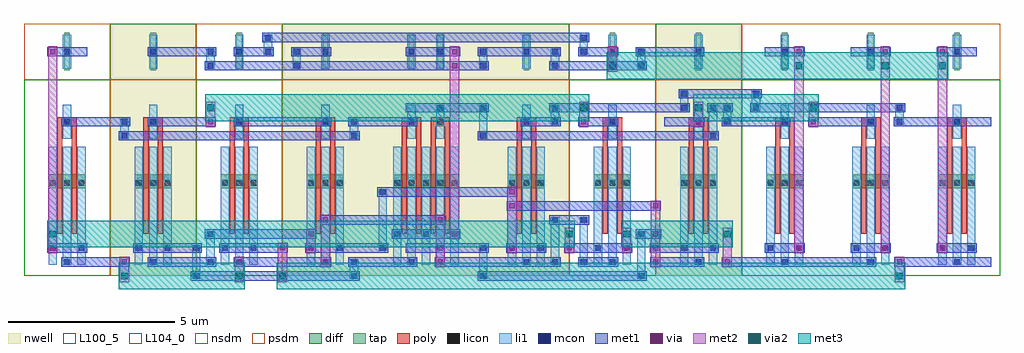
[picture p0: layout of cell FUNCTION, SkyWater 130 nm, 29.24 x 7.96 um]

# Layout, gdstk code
import gdstk
lib = gdstk.Library(unit=1e-6, precision=1e-09)
def R(c, l, rs):  # rectangles x0, y0, x1, y1
    for r in rs: c.add(gdstk.rectangle(r[:2], r[2:], *l))
def A(c, l, x, y, w, h, nx, ny, dx, dy):  # array of equal rectangles
    R(c, l, [(x+i*dx, y+j*dy, x+i*dx+w, y+j*dy+h) for i in range(nx) for j in range(ny)])
nwell = (64, 20)
diff = (65, 20)
tap = (65, 44)
poly = (66, 20)
licon = (66, 44)
li1 = (67, 20)
mcon = (67, 44)
met1 = (68, 20)
via = (68, 44)
met2 = (69, 20)
via2 = (69, 44)
met3 = (70, 20)
nsdm = (93, 44)
psdm = (94, 20)
L100_5 = (100, 5)
L104_0 = (104, 0)

function = lib.new_cell('FUNCTION')
R(function, nwell, [(2.58,0,5.16,7.56), (7.74,0,10.32,7.56), (10.32,0,13.76,7.56), (13.76,0,16.34,7.56), (18.92,0,21.5,7.56)])
A(function, diff, 0.735, 2.625, 1.11, 0.42, 4, 1, 2.58, 0)
A(function, diff, 14.495, 2.625, 1.11, 0.42, 6, 1, 2.58, 0)
R(function, diff, [(11.055,2.625,13.025,3.045)])
A(function, tap, 1.205, 6.16, 0.17, 1.12, 5, 1, 2.58, 0)
A(function, tap, 12.385, 6.16, 0.17, 1.12, 7, 1, 2.58, 0)
A(function, poly, 11.32, 1.26, 0.15, 3.36, 4, 1, 0.43, 0)
A(function, poly, 1, 4.485, 0.58, 0.27, 5, 1, 2.58, 0)
A(function, poly, 12.18, 4.485, 0.58, 0.27, 7, 1, 2.58, 0)
R(function, poly, [(1,1.26,1.15,4.62), (1.43,1.26,1.58,4.62), (3.58,1.26,3.73,4.62), (4.01,1.26,4.16,4.62), (6.16,1.26,6.31,4.62), (6.59,1.26,6.74,4.62), (8.74,1.26,8.89,4.62), (9.17,1.26,9.32,4.62), (14.76,1.26,14.91,4.62), (15.19,1.26,15.34,4.62), (17.34,1.26,17.49,4.62), (17.77,1.26,17.92,4.62), (19.92,1.26,20.07,4.62), (20.35,1.26,20.5,4.62), (22.5,1.26,22.65,4.62), (22.93,1.26,23.08,4.62), (25.08,1.26,25.23,4.62), (25.51,1.26,25.66,4.62), (27.66,1.26,27.81,4.62), (28.09,1.26,28.24,4.62)])
A(function, licon, 0.775, 2.705, 0.17, 0.17, 3, 1, 0.43, 0)
A(function, licon, 3.355, 2.705, 0.17, 0.17, 3, 1, 0.43, 0)
A(function, licon, 5.935, 2.705, 0.17, 0.17, 3, 1, 0.43, 0)
A(function, licon, 8.515, 2.705, 0.17, 0.17, 3, 1, 0.43, 0)
A(function, licon, 11.095, 2.705, 0.17, 0.17, 3, 1, 0.43, 0)
A(function, licon, 11.955, 2.705, 0.17, 0.17, 3, 1, 0.43, 0)
A(function, licon, 14.535, 2.705, 0.17, 0.17, 3, 1, 0.43, 0)
A(function, licon, 17.115, 2.705, 0.17, 0.17, 3, 1, 0.43, 0)
A(function, licon, 19.695, 2.705, 0.17, 0.17, 3, 1, 0.43, 0)
A(function, licon, 22.275, 2.705, 0.17, 0.17, 3, 1, 0.43, 0)
A(function, licon, 24.855, 2.705, 0.17, 0.17, 3, 1, 0.43, 0)
A(function, licon, 27.435, 2.705, 0.17, 0.17, 3, 1, 0.43, 0)
A(function, licon, 1.205, 4.535, 0.17, 0.17, 5, 2, 2.58, 2.1)
A(function, licon, 12.385, 4.535, 0.17, 0.17, 7, 2, 2.58, 2.1)
A(function, li1, 0.735, 0.335, 0.25, 3.53, 3, 1, 0.43, 0)
A(function, li1, 3.315, 0.335, 0.25, 3.53, 3, 1, 0.43, 0)
A(function, li1, 5.895, 0.335, 0.25, 3.53, 3, 1, 0.43, 0)
A(function, li1, 8.475, 0.335, 0.25, 3.53, 3, 1, 0.43, 0)
A(function, li1, 11.055, 0.335, 0.25, 3.53, 5, 1, 0.43, 0)
A(function, li1, 14.495, 0.335, 0.25, 3.53, 3, 1, 0.43, 0)
A(function, li1, 17.075, 0.335, 0.25, 3.53, 3, 1, 0.43, 0)
A(function, li1, 19.655, 0.335, 0.25, 3.53, 3, 1, 0.43, 0)
A(function, li1, 22.235, 0.335, 0.25, 3.53, 3, 1, 0.43, 0)
A(function, li1, 24.815, 0.335, 0.25, 3.53, 3, 1, 0.43, 0)
A(function, li1, 27.395, 0.335, 0.25, 3.53, 3, 1, 0.43, 0)
A(function, li1, 1.165, 4.115, 0.25, 1.01, 5, 2, 2.58, 2.1)
A(function, li1, 12.345, 4.115, 0.25, 1.01, 3, 1, 1.29, 0)
A(function, li1, 22.665, 4.115, 0.25, 1.01, 3, 1, 2.58, 0)
A(function, li1, 15.785, 4.535, 0.25, 0.59, 3, 1, 5.16, 0)
A(function, li1, 12.345, 6.215, 0.25, 1.01, 7, 1, 2.58, 0)
R(function, li1, [(5.035,-0.085,5.285,0.925), (9.765,-0.085,10.015,0.505), (13.635,-0.085,13.885,0.925), (18.365,-0.085,18.615,1.345), (5.465,0.335,5.715,1.345), (15.785,0.335,16.035,1.765), (16.645,0.335,16.895,1.765), (10.625,0.755,10.875,2.605), (18.795,0.755,19.045,1.345), (2.885,4.115,3.135,4.705), (9.765,4.115,10.015,4.705), (17.505,4.115,17.755,5.125), (20.085,4.115,20.335,5.125), (20.515,4.115,20.765,5.125), (19.655,4.955,19.905,5.545), (21.805,4.955,22.055,5.545), (5.465,6.215,5.715,6.805), (8.045,6.215,8.295,6.805), (13.635,6.215,13.885,6.805), (15.785,6.215,16.035,6.805), (18.365,6.215,18.615,6.805), (7.185,6.635,7.435,7.225), (16.645,6.635,16.895,7.225)])
A(function, mcon, 14.965, 0.335, 0.17, 0.17, 4, 1, 0.86, 0)
A(function, mcon, 20.125, 0.335, 0.17, 0.17, 4, 2, 2.58, 6.3)
A(function, mcon, 3.355, 0.755, 0.17, 0.17, 5, 1, 0.86, 0)
A(function, mcon, 13.675, 0.755, 0.17, 0.17, 3, 1, 0.86, 0)
A(function, mcon, 17.115, 0.755, 0.17, 0.17, 5, 1, 0.86, 0)
A(function, mcon, 11.095, 1.175, 0.17, 0.17, 3, 1, 0.86, 0)
A(function, mcon, 3.785, 4.535, 0.17, 0.17, 3, 1, 2.58, 0)
A(function, mcon, 5.505, 6.635, 0.17, 0.17, 5, 1, 0.86, 0)
A(function, mcon, 12.385, 6.635, 0.17, 0.17, 3, 1, 1.29, 0)
A(function, mcon, 15.825, 6.635, 0.17, 0.17, 4, 1, 0.86, 0)
R(function, mcon, [(5.075,-0.085,5.245,0.085), (9.805,-0.085,9.975,0.085), (13.675,-0.085,13.845,0.085), (18.405,-0.085,18.575,0.085), (1.205,0.335,1.375,0.505), (3.785,0.335,3.955,0.505), (5.505,0.335,5.675,0.505), (6.365,0.335,6.535,0.505), (8.945,0.335,9.115,0.505), (9.805,0.335,9.975,0.505), (11.525,0.335,11.695,0.505), (0.775,0.755,0.945,0.925), (1.635,0.755,1.805,0.925), (8.515,0.755,8.685,0.925), (9.375,0.755,9.545,0.925), (10.665,0.755,10.835,0.925), (12.385,0.755,12.555,0.925), (22.275,0.755,22.445,0.925), (23.135,0.755,23.305,0.925), (24.855,0.755,25.025,0.925), (25.715,0.755,25.885,0.925), (27.435,0.755,27.605,0.925), (28.295,0.755,28.465,0.925), (5.505,1.175,5.675,1.345), (18.405,1.175,18.575,1.345), (18.835,1.175,19.005,1.345), (15.825,1.595,15.995,1.765), (16.685,1.595,16.855,1.765), (10.665,2.435,10.835,2.605), (2.925,4.115,3.095,4.285), (9.805,4.115,9.975,4.285), (13.675,4.115,13.845,4.285), (20.555,4.115,20.725,4.285), (1.205,4.535,1.375,4.705), (2.925,4.535,3.095,4.705), (9.805,4.535,9.975,4.705), (11.525,4.535,11.695,4.705), (14.965,4.535,15.135,4.705), (15.825,4.535,15.995,4.705), (17.545,4.535,17.715,4.705), (20.125,4.535,20.295,4.705), (20.985,4.535,21.155,4.705), (22.705,4.535,22.875,4.705), (25.285,4.535,25.455,4.705), (26.145,4.535,26.315,4.705), (27.865,4.535,28.035,4.705), (12.385,4.955,12.555,5.125), (13.675,4.955,13.845,5.125), (15.825,4.955,15.995,5.125), (19.695,4.955,19.865,5.125), (20.555,4.955,20.725,5.125), (20.985,4.955,21.155,5.125), (21.845,4.955,22.015,5.125), (26.145,4.955,26.315,5.125), (19.695,5.375,19.865,5.545), (21.845,5.375,22.015,5.545), (5.505,6.215,5.675,6.385), (8.085,6.215,8.255,6.385), (13.675,6.215,13.845,6.385), (15.825,6.215,15.995,6.385), (18.405,6.215,18.575,6.385), (1.205,6.635,1.375,6.805), (3.785,6.635,3.955,6.805), (11.525,6.635,11.695,6.805), (7.225,7.055,7.395,7.225), (16.685,7.055,16.855,7.225)])
A(function, met1, 22.19, 0.7, 1.2, 0.28, 3, 2, 2.58, 5.88)
R(function, met1, [(4.99,-0.14,10.06,0.14), (13.59,-0.14,18.66,0.14), (1.12,0.28,3.17,0.56), (3.7,0.28,5.76,0.56), (6.28,0.28,9.2,0.56), (9.72,0.28,11.78,0.56), (12.31,0.28,16.08,0.56), (16.6,0.28,17.8,0.56), (18.76,0.28,20.38,0.56), (20.91,0.28,25.54,0.56), (26.07,0.28,28.98,0.56), (0.69,0.7,1.89,0.98), (3.27,0.7,5.33,0.98), (5.85,0.7,7.9,0.98), (8.43,0.7,10.92,0.98), (11.44,0.7,13.93,0.98), (14.45,0.7,15.65,0.98), (16.18,0.7,18.23,0.98), (18.75,0.7,20.81,0.98), (5.42,1.12,8.76,1.4), (11.01,1.12,13.07,1.4), (18.32,1.12,19.09,1.4), (8.87,1.54,12.63,1.82), (15.74,1.54,16.94,1.82), (14.46,1.96,19.08,2.24), (10.58,2.38,14.78,2.66), (2.84,4.06,10.06,4.34), (13.59,4.06,20.81,4.34), (1.12,4.48,3.18,4.76), (3.7,4.48,5.75,4.76), (6.28,4.48,9.2,4.76), (9.72,4.48,11.78,4.76), (14.88,4.48,16.08,4.76), (16.6,4.48,17.8,4.76), (19.18,4.48,20.38,4.76), (20.9,4.48,22.96,4.76), (23.49,4.48,25.54,4.76), (26.06,4.48,28.98,4.76), (11.44,4.9,13.93,5.18), (15.74,4.9,19.95,5.18), (20.47,4.9,21.24,5.18), (21.76,4.9,26.4,5.18), (19.61,5.32,22.1,5.6), (5.42,6.16,13.93,6.44), (15.74,6.16,18.66,6.44), (0.69,6.58,1.89,6.86), (3.7,6.58,5.76,6.86), (6.28,6.58,7.48,6.86), (8,6.58,9.2,6.86), (11.44,6.58,13.07,6.86), (13.59,6.58,16.08,6.86), (16.6,6.58,17.8,6.86), (18.32,6.58,20.38,6.86), (7.14,7,16.94,7.28)])
A(function, via, 14.545, 0.765, 0.15, 0.15, 3, 1, 1.72, 0)
A(function, via, 16.695, 4.545, 0.15, 0.15, 3, 1, 3.44, 0)
R(function, via, [(2.935,0.345,3.085,0.495), (6.375,0.345,6.525,0.495), (8.955,0.345,9.105,0.495), (12.395,0.345,12.545,0.495), (18.845,0.345,18.995,0.495), (20.995,0.345,21.145,0.495), (26.155,0.345,26.305,0.495), (0.785,0.765,0.935,0.915), (7.665,0.765,7.815,0.915), (8.525,0.765,8.675,0.915), (23.145,0.765,23.295,0.915), (25.725,0.765,25.875,0.915), (27.445,0.765,27.595,0.915), (8.525,1.185,8.675,1.335), (12.825,1.185,12.975,1.335), (8.955,1.605,9.105,1.755), (12.395,1.605,12.545,1.755), (14.545,2.025,14.695,2.175), (18.845,2.025,18.995,2.175), (14.545,2.445,14.695,2.595), (5.515,4.545,5.665,4.695), (12.825,6.225,12.975,6.375), (0.785,6.645,0.935,6.795), (12.825,6.645,12.975,6.795), (17.555,6.645,17.705,6.795), (23.145,6.645,23.295,6.795), (25.725,6.645,25.875,6.795), (27.445,6.645,27.595,6.795)])
A(function, met2, 16.63, 4.46, 0.28, 0.765, 3, 1, 3.44, 0)
R(function, met2, [(2.87,-0.185,3.15,0.58), (6.31,-0.185,6.59,0.58), (7.6,-0.185,7.88,1), (26.09,-0.185,26.37,0.58), (8.89,0.26,9.17,1.84), (12.33,0.26,12.61,1.84), (18.78,0.26,19.06,2.26), (20.93,0.26,21.21,1.445), (0.72,0.68,1,6.88), (8.46,0.68,8.74,1.42), (14.48,0.68,14.76,2.68), (16.2,0.68,16.48,1.445), (17.92,0.68,18.2,1.445), (23.08,0.68,23.36,6.88), (25.66,0.68,25.94,6.88), (27.38,0.68,27.66,6.88), (12.76,1.1,13.04,6.88), (5.45,4.46,5.73,5.225), (17.49,6.115,17.77,6.88)])
A(function, via2, 16.67, 4.94, 0.2, 0.2, 3, 1, 3.44, 0)
R(function, via2, [(2.91,-0.1,3.11,0.1), (6.35,-0.1,6.55,0.1), (7.64,-0.1,7.84,0.1), (26.13,-0.1,26.33,0.1), (0.76,1.16,0.96,1.36), (16.24,1.16,16.44,1.36), (17.96,1.16,18.16,1.36), (20.97,1.16,21.17,1.36), (5.49,4.94,5.69,5.14), (17.53,6.2,17.73,6.4), (23.12,6.2,23.32,6.4), (25.7,6.2,25.9,6.4), (27.42,6.2,27.62,6.4)])
R(function, met3, [(2.845,-0.4,6.615,0.4), (7.575,-0.4,26.395,0.4), (0.695,0.86,16.505,1.66), (17.895,0.86,21.235,1.66), (5.425,4.64,16.935,5.44), (20.045,4.64,23.815,5.44), (17.465,5.9,27.685,6.7)])
A(function, nsdm, 21.5, 0, 2.58, 5.88, 3, 1, 2.58, 0)
R(function, nsdm, [(0,0,2.58,5.88), (5.16,0,7.74,5.88), (16.34,0,18.92,5.88), (2.58,5.88,5.16,7.56), (7.74,5.88,10.32,7.56), (10.32,5.88,13.76,7.56), (13.76,5.88,16.34,7.56), (18.92,5.88,21.5,7.56)])
A(function, psdm, 21.5, 5.88, 2.58, 1.68, 3, 1, 2.58, 0)
R(function, psdm, [(2.58,0,5.16,5.88), (7.74,0,10.32,5.88), (10.32,0,13.76,5.88), (13.76,0,16.34,5.88), (18.92,0,21.5,5.88), (0,5.88,2.58,7.56), (5.16,5.88,7.74,7.56), (16.34,5.88,18.92,7.56)])
R(function, L100_5, [(0,0,29.24,7.56)])
R(function, L104_0, [(0,0,29.24,7.56)])

lib.write_gds('FUNCTION.gds')
